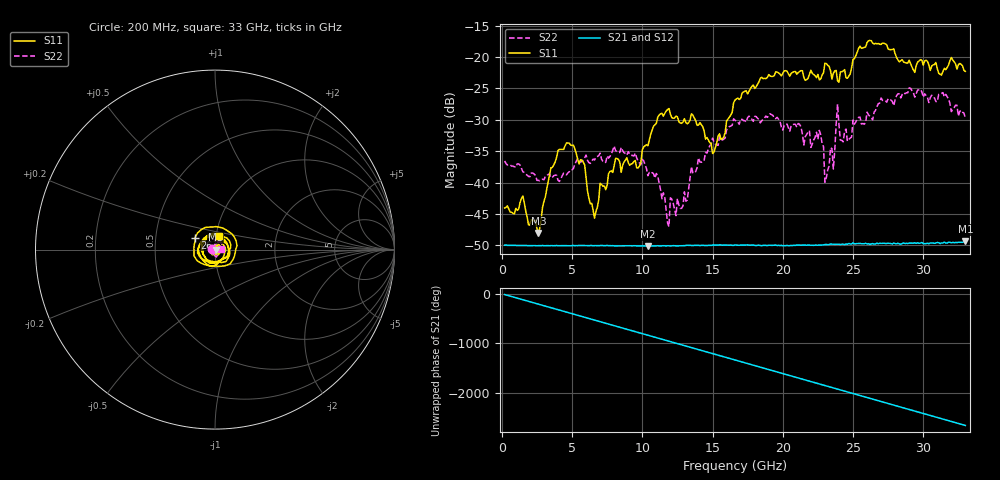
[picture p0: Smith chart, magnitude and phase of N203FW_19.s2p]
# GHZ S RI R 50
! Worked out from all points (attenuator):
!   329 points, 200 MHz to 33 GHz, reference 50 ohm
!   highest |S21| = -49.37 dB at 33 GHz (marker M1); lowest = -50.1 dB at 10.4 GHz (marker M2)
!   lowest |S11| = -48.0 dB at 2.6 GHz (marker M3), VSWR 1.01, Z = 50.4 + j0.0553 ohm
!   |S11| at or under -10 dB: start of sweep to end of sweep
!   |S22| runs from -47.0 to -24.9 dB; largest |S21 - S12| = 8.8e-05
!   S11 on the Smith chart (normalised r, x): 200 MHz: 1.01, +0.00; 26 GHz: 0.79, +0.11; 33 GHz: 1.03, +0.15
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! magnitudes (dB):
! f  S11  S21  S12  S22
! 200 MHz  -44.0  -50.0  -49.9  -36.6
! 2.6 GHz  -48.0  -50.0  -50.1  -39.6
! 4 GHz  -34.9  -50.0  -50.0  -39.6
! 5.7 GHz  -36.4  -50.0  -50.0  -36.6
! 6.6 GHz  -45.7  -50.0  -50.0  -36.4
! 8.1 GHz  -36.2  -50.1  -50.1  -34.9
! 10.4 GHz  -34.1  -50.1  -50.1  -38.9
! 11.2 GHz  -29.3  -50.1  -50.1  -40.1
! 11.9 GHz  -28.2  -50.1  -50.0  -47.0
! 12 GHz  -29.1  -50.1  -50.1  -42.4
! 12.8 GHz  -30.6  -50.0  -50.0  -44.1
! 15 GHz  -35.4  -49.9  -49.9  -32.9
! 16.6 GHz  -26.9  -49.9  -49.9  -30.1
! 22.1 GHz  -22.6  -50.0  -50.0  -33.9
! 22.7 GHz  -23.5  -49.9  -49.9  -32.3
! 23 GHz  -21.0  -49.9  -49.8  -40.0
! 23.6 GHz  -22.6  -49.8  -49.8  -37.8
! 23.9 GHz  -23.8  -49.8  -49.8  -27.5
! 24.3 GHz  -22.2  -49.8  -49.7  -33.5
! 26 GHz  -17.7  -49.8  -49.7  -28.8
! 27.6 GHz  -18.8  -49.7  -49.7  -26.7
! 33 GHz  -22.3  -49.4  -49.4  -29.8
